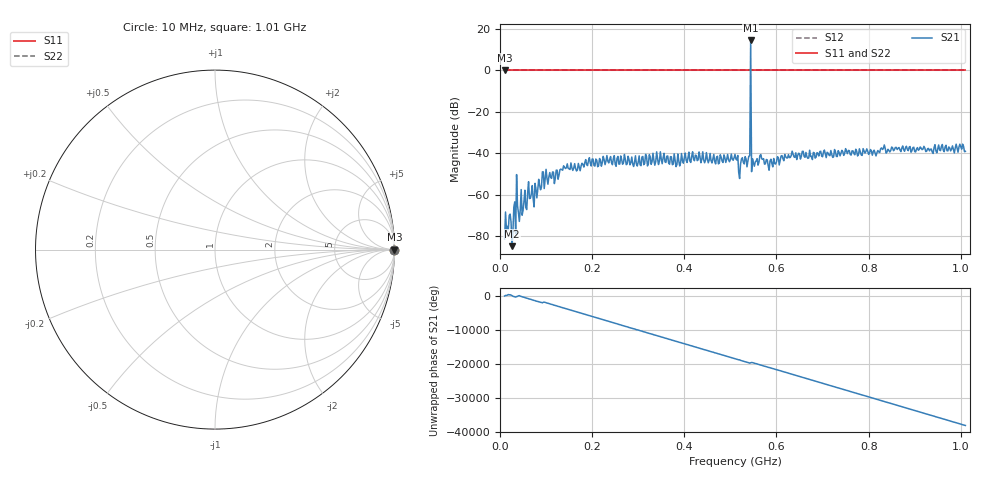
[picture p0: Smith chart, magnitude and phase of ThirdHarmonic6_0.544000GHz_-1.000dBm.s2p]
! 8/15/2025 5:08:40 PM
! C:\ANRITSUVNA\TEMP\TEMP.S2P
! CHANNEL.1
! TR.MEASUREMENT
! RAW.DATA
! RF.CORRECTION.OFF
! AVERAGING.OFF
! IF.BANDWIDTH: 5KHZ
! SWEEPTYPE:  FREQ.SWEEP(Linear)
! Reference Plane Port Info
! PORT:  PORT1  PORT2
! DISTANCE:  0  m  0  m
! TIME:  0  s  0  s
! PHASE.OFFSET:  0  deg.  0  deg.
! LOSS:  0  dB  0  dB
! REF.LOSS:  0  dB  0  dB
! REF.FREQ:  0  Hz  0  Hz
! Power Info
! POWER:  -20  dBm  -20  dBm
! EFF.POWER:  -20  dBm  -20  dBm
! SOURCE.ATTEN:  0  dB  0  dB
! TEST.ATTEN:  0  dB  0  dB
# GHZ S RI R 50.0
! FREQ.GHZ  S11RE  S11IM  S21RE  S21IM  S12RE  S12IM  S22RE  S22IM
!; PortSelection: Port_12
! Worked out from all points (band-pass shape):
!   501 points, 10 MHz to 1.01 GHz, reference 50 ohm
!   highest |S21| = 14.53 dB at 544 MHz (marker M1); lowest = -85.0 dB at 26 MHz (marker M2)
!   |S21| within 3 dB of the highest: 543.8925 MHz to 544.0946 MHz (202.1 kHz wide, 0.0371 % of centre)
!   lowest |S11| = 0.0 dB at 10 MHz (marker M3)
!   |S11| at or under -10 dB: nowhere
!   |S22| runs from 0.0 to 0.0 dB; largest |S21 - S12| = 5
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0.01  1 0  3.47e-05 -7.62e-05  1 0  1 0
0.026  1 0  3.17e-05 4.66e-05  1 0  1 0
0.03  1 0  -0.000318 0.000382  1 0  1 0
0.034  1 0  9.61e-05 -5.8e-05  1 0  1 0
0.046  1 0  -0.00118 0.000591  1 0  1 0
0.066  1 0  0.000135 0.000801  1 0  1 0
0.076  1 0  0.0017 0.000763  1 0  1 0
0.096  1 0  0.000184 -0.00138  1 0  1 0
0.178  1 0  -0.0055 -0.00154  1 0  1 0
0.344  1 0  0.0053 -0.000373  1 0  1 0
0.51  1 0  -0.00932 0.00015  1 0  1 0
0.522  1 0  0.00323 0.00435  1 0  1 0
0.538  1 0  -0.00543 0.00351  1 0  1 0
0.54  1 0  0.00453 0.00716  1 0  1 0
0.544  1 0  2.003 4.933  1 0  1 0
0.548  1 0  -0.00227 0.00699  1 0  1 0
0.55  1 0  0.00549 0.00178  1 0  1 0
0.568  1 0  0.0072 0.00133  1 0  1 0
0.588  1 0  0.00307 -0.00644  1 0  1 0
0.678  1 0  0.00488 -0.00503  1 0  1 0
0.844  1 0  -0.00466 0.0107  1 0  1 0
1.01  1 0  0.00667 -0.00881  1 0  1 0
